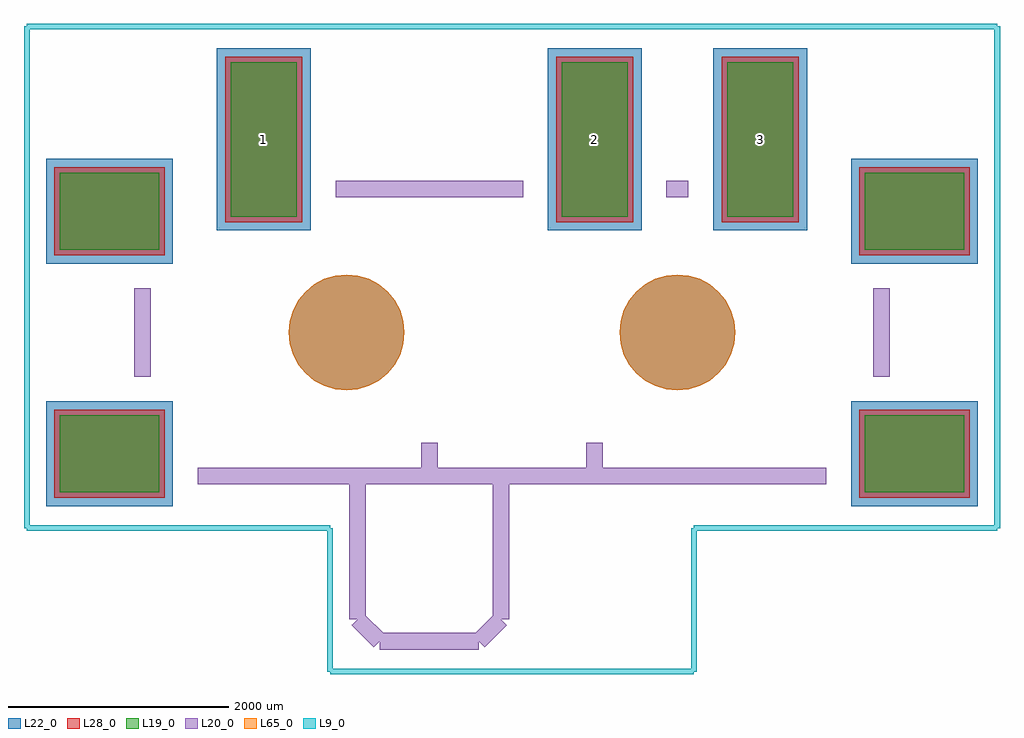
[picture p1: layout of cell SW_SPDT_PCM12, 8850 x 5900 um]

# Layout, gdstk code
import gdstk
lib = gdstk.Library(unit=1e-6, precision=1e-09)
def R(c, l, rs):  # rectangles x0, y0, x1, y1
    for r in rs: c.add(gdstk.rectangle(r[:2], r[2:], *l))
def P(c, l, *ps):  # polygons
    for p in ps: c.add(gdstk.Polygon(p, *l))
L9_0 = (9, 0)
L19_0 = (19, 0)
L20_0 = (20, 0)
L22_0 = (22, 0)
L28_0 = (28, 0)
L65_0 = (65, 0)

sw_spdt_pcm12 = lib.new_cell('SW_SPDT_PCM12')
R(sw_spdt_pcm12, L19_0, [(-4100,-1775,-3200,-1075), (3200,-1775,4100,-1075), (-4100,425,-3200,1125), (3200,425,4100,1125), (-2550,725,-1950,2125), (450,725,1050,2125), (1950,725,2550,2125)])
R(sw_spdt_pcm12, L22_0, [(-4225,-1900,-3075,-950), (3075,-1900,4225,-950), (-4225,300,-3075,1250), (3075,300,4225,1250), (-2675,600,-1825,2250), (325,600,1175,2250), (1825,600,2675,2250)])
P(sw_spdt_pcm12, L22_0, [(2025,-325),(2014.912,-222.578),(1985.037,-124.091),(1936.522,-33.326),(1871.231,46.231),(1791.674,111.522),(1700.909,160.037),(1602.422,189.912),(1500,200),(1397.578,189.912),(1299.091,160.037),(1208.326,111.522),(1128.769,46.231),(1063.478,-33.326),(1014.963,-124.091),(985.088,-222.578),(975,-325),(985.088,-427.422),(1014.963,-525.909),(1063.478,-616.674),(1128.769,-696.231),(1208.326,-761.522),(1299.091,-810.037),(1397.578,-839.912),(1500,-850),(1602.422,-839.912),(1700.909,-810.037),(1791.674,-761.522),(1871.231,-696.231),(1936.522,-616.674),(1985.037,-525.909),(2014.912,-427.422)],
  [(-975,-325),(-985.088,-222.578),(-1014.963,-124.091),(-1063.478,-33.326),(-1128.769,46.231),(-1208.326,111.522),(-1299.091,160.037),(-1397.578,189.912),(-1500,200),(-1602.422,189.912),(-1700.909,160.037),(-1791.674,111.522),(-1871.231,46.231),(-1936.522,-33.326),(-1985.037,-124.091),(-2014.912,-222.578),(-2025,-325),(-2014.912,-427.422),(-1985.037,-525.909),(-1936.522,-616.674),(-1871.231,-696.231),(-1791.674,-761.522),(-1700.909,-810.037),(-1602.422,-839.912),(-1500,-850),(-1397.578,-839.912),(-1299.091,-810.037),(-1208.326,-761.522),(-1128.769,-696.231),(-1063.478,-616.674),(-1014.963,-525.909),(-985.088,-427.422)])
R(sw_spdt_pcm12, L28_0, [(-4150,-1825,-3150,-1025), (3150,-1825,4150,-1025), (-4150,375,-3150,1175), (3150,375,4150,1175), (-2600,675,-1900,2175), (400,675,1100,2175), (1900,675,2600,2175)])
P(sw_spdt_pcm12, L65_0, [(2025,-325),(2014.912,-222.578),(1985.037,-124.091),(1936.522,-33.326),(1871.231,46.231),(1791.674,111.522),(1700.909,160.037),(1602.422,189.912),(1500,200),(1397.578,189.912),(1299.091,160.037),(1208.326,111.522),(1128.769,46.231),(1063.478,-33.326),(1014.963,-124.091),(985.088,-222.578),(975,-325),(985.088,-427.422),(1014.963,-525.909),(1063.478,-616.674),(1128.769,-696.231),(1208.326,-761.522),(1299.091,-810.037),(1397.578,-839.912),(1500,-850),(1602.422,-839.912),(1700.909,-810.037),(1791.674,-761.522),(1871.231,-696.231),(1936.522,-616.674),(1985.037,-525.909),(2014.912,-427.422)],
  [(-975,-325),(-985.088,-222.578),(-1014.963,-124.091),(-1063.478,-33.326),(-1128.769,46.231),(-1208.326,111.522),(-1299.091,160.037),(-1397.578,189.912),(-1500,200),(-1602.422,189.912),(-1700.909,160.037),(-1791.674,111.522),(-1871.231,46.231),(-1936.522,-33.326),(-1985.037,-124.091),(-2014.912,-222.578),(-2025,-325),(-2014.912,-427.422),(-1985.037,-525.909),(-1936.522,-616.674),(-1871.231,-696.231),(-1791.674,-761.522),(-1700.909,-810.037),(-1602.422,-839.912),(-1500,-850),(-1397.578,-839.912),(-1299.091,-810.037),(-1208.326,-761.522),(-1128.769,-696.231),(-1063.478,-616.674),(-1014.963,-525.909),(-985.088,-427.422)])
sw_spdt_pcm12.add(gdstk.FlexPath([(3350,-725),(3350,75)], 149.998, ends="flush", simple_path=True, layer=20, datatype=0))  # L20_0
sw_spdt_pcm12.add(gdstk.FlexPath([(-3350,75),(-3350,-725)], 149.998, ends="flush", simple_path=True, layer=20, datatype=0))  # L20_0
sw_spdt_pcm12.add(gdstk.FlexPath([(-1600,975),(100,975)], 149.998, ends="flush", simple_path=True, layer=20, datatype=0))  # L20_0
sw_spdt_pcm12.add(gdstk.FlexPath([(-2850,-1625),(2850,-1625)], 149.998, ends="flush", simple_path=True, layer=20, datatype=0))  # L20_0
sw_spdt_pcm12.add(gdstk.FlexPath([(-100,-2925),(-100,-1625)], 149.998, ends="flush", simple_path=True, layer=20, datatype=0))  # L20_0
sw_spdt_pcm12.add(gdstk.FlexPath([(-1200,-3125),(-300,-3125)], 149.998, ends="flush", simple_path=True, layer=20, datatype=0))  # L20_0
sw_spdt_pcm12.add(gdstk.FlexPath([(-1400,-1625),(-1400,-2925)], 149.998, ends="flush", simple_path=True, layer=20, datatype=0))  # L20_0
sw_spdt_pcm12.add(gdstk.FlexPath([(-100,-2925),(-300,-3125)], 149.998, ends="flush", simple_path=True, layer=20, datatype=0))  # L20_0
sw_spdt_pcm12.add(gdstk.FlexPath([(-1400,-2925),(-1200,-3125)], 149.998, ends="flush", simple_path=True, layer=20, datatype=0))  # L20_0
sw_spdt_pcm12.add(gdstk.FlexPath([(-4400,-2100),(-4400,2450)], 50, ends="flush", simple_path=True, layer=9, datatype=0))  # L9_0
sw_spdt_pcm12.add(gdstk.FlexPath([(-1650,-2100),(-4400,-2100)], 50, ends="flush", simple_path=True, layer=9, datatype=0))  # L9_0
sw_spdt_pcm12.add(gdstk.FlexPath([(-1650,-3400),(-1650,-2100)], 50, ends="flush", simple_path=True, layer=9, datatype=0))  # L9_0
sw_spdt_pcm12.add(gdstk.FlexPath([(1650,-3400),(-1650,-3400)], 50, ends="flush", simple_path=True, layer=9, datatype=0))  # L9_0
sw_spdt_pcm12.add(gdstk.FlexPath([(1650,-2100),(1650,-3400)], 50, ends="flush", simple_path=True, layer=9, datatype=0))  # L9_0
sw_spdt_pcm12.add(gdstk.FlexPath([(4400,-2100),(1650,-2100)], 50, ends="flush", simple_path=True, layer=9, datatype=0))  # L9_0
sw_spdt_pcm12.add(gdstk.FlexPath([(4400,2450),(4400,-2100)], 50, ends="flush", simple_path=True, layer=9, datatype=0))  # L9_0
sw_spdt_pcm12.add(gdstk.FlexPath([(-4400,2450),(4400,2450)], 50, ends="flush", simple_path=True, layer=9, datatype=0))  # L9_0
sw_spdt_pcm12.add(gdstk.FlexPath([(1400,975),(1600,975)], 149.998, ends="flush", simple_path=True, layer=20, datatype=0))  # L20_0
sw_spdt_pcm12.add(gdstk.FlexPath([(-750,-1325),(-750,-1625)], 149.998, ends="flush", simple_path=True, layer=20, datatype=0))  # L20_0
sw_spdt_pcm12.add(gdstk.FlexPath([(750,-1325),(750,-1625)], 149.998, ends="flush", simple_path=True, layer=20, datatype=0))  # L20_0
sw_spdt_pcm12.add(gdstk.Label('3', (2250,1425), layer=28, texttype=0))
sw_spdt_pcm12.add(gdstk.Label('2', (750,1425), layer=28, texttype=0))
sw_spdt_pcm12.add(gdstk.Label('1', (-2250,1425), layer=28, texttype=0))
sw_spdt_pcm12.add(gdstk.Label('type', (0,-4250), layer=9, texttype=0))
sw_spdt_pcm12.add(gdstk.Label('devicename', (-1500,3175), layer=9, texttype=0))

lib.write_gds('SW_SPDT_PCM12.gds')
